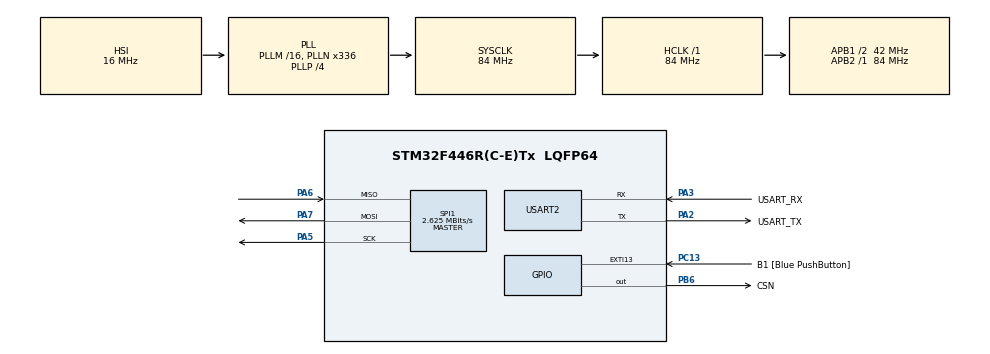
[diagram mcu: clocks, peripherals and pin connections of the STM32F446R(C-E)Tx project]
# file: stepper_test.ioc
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Mcu.Family=STM32F4
Mcu.Name=STM32F446R(C-E)Tx
Mcu.Package=LQFP64
NVIC.PriorityGroup=NVIC_PRIORITYGROUP_0
PA13.GPIO_Label=TMS
PA13.Mode=Serial_Wire
PA13.Signal=SYS_JTMS-SWDIO
PA14.GPIO_Label=TCK
PA14.Mode=Serial_Wire
PA14.Signal=SYS_JTCK-SWCLK
PA2.GPIO_Label=USART_TX
PA2.Mode=Asynchronous
PA2.Signal=USART2_TX
PA3.GPIO_Label=USART_RX
PA3.Mode=Asynchronous
PA3.Signal=USART2_RX
PA5.Mode=Full_Duplex_Master
PA5.Signal=SPI1_SCK
PA6.Mode=Full_Duplex_Master
PA6.Signal=SPI1_MISO
PA7.Mode=Full_Duplex_Master
PA7.Signal=SPI1_MOSI
PB3.GPIO_Label=SWO
PB3.Signal=SYS_JTDO-SWO
PB6.GPIO_Label=CSN
PB6.GPIO_Speed=GPIO_SPEED_FREQ_HIGH
PB6.PinState=GPIO_PIN_SET
PB6.Signal=GPIO_Output
PC13.GPIO_Label=B1 [Blue PushButton]
PC13.GPIO_ModeDefaultEXTI=GPIO_MODE_IT_FALLING
PC13.Signal=GPXTI13
PC14-OSC32_IN.Mode=LSE-External-Oscillator
PC14-OSC32_IN.Signal=RCC_OSC32_IN
PC15-OSC32_OUT.Mode=LSE-External-Oscillator
PC15-OSC32_OUT.Signal=RCC_OSC32_OUT
PH0-OSC_IN.Mode=HSE-External-Oscillator
PH0-OSC_IN.Signal=RCC_OSC_IN
PH1-OSC_OUT.Mode=HSE-External-Oscillator
PH1-OSC_OUT.Signal=RCC_OSC_OUT
ProjectManager.HeapSize=0x200
ProjectManager.StackSize=0x400
ProjectManager.TargetToolchain=STM32CubeIDE
RCC.48MHZClocksFreq_Value=84000000
RCC.AHBFreq_Value=84000000
RCC.APB1CLKDivider=RCC_HCLK_DIV2
RCC.APB1Freq_Value=42000000
RCC.APB1TimFreq_Value=84000000
RCC.APB2Freq_Value=84000000
RCC.APB2TimFreq_Value=84000000
RCC.CortexFreq_Value=84000000
RCC.FLatency-AdvancedSettings=FLASH_LATENCY_2
RCC.HCLKFreq_Value=84000000
RCC.HSE_VALUE=8000000
RCC.HSI_VALUE=16000000
RCC.PLLN=336
RCC.PLLP=RCC_PLLP_DIV4
RCC.SYSCLKFreq_VALUE=84000000
RCC.SYSCLKSource=RCC_SYSCLKSOURCE_PLLCLK
RCC.USBFreq_Value=168000000
RCC.VCOOutputFreq_Value=336000000
SPI1.BaudRatePrescaler=SPI_BAUDRATEPRESCALER_32
SPI1.CLKPhase=SPI_PHASE_2EDGE
SPI1.CLKPolarity=SPI_POLARITY_HIGH
SPI1.CalculateBaudRate=2.625 MBits/s
SPI1.Direction=SPI_DIRECTION_2LINES
SPI1.Mode=SPI_MODE_MASTER
SPI1.VirtualType=VM_MASTER
USART2.VirtualMode=VM_ASYNC
board=NUCLEO-F446RE

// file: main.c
/* USER CODE BEGIN Header */
/**
  ******************************************************************************
  * @file           : main.c
  * @brief          : Main program body
  ******************************************************************************
  * @attention
  *
  * Copyright (c) 2026 STMicroelectronics.
  * All rights reserved.
  *
  * This software is licensed under terms that can be found in the LICENSE file
  * in the root directory of this software component.
  * If no LICENSE file comes with this software, it is provided AS-IS.
  *
  ******************************************************************************
  */
/* USER CODE END Header */
#include "main.h"

/* USER CODE BEGIN Includes */
#include <stdio.h>
#include <stdarg.h>
#include "tmc5160.h"

/* USER CODE END Includes */

SPI_HandleTypeDef hspi1;

UART_HandleTypeDef huart2;

void SystemClock_Config(void);
static void MX_GPIO_Init(void);
static void MX_SPI1_Init(void);
static void MX_USART2_UART_Init(void);

/* USER CODE BEGIN 0 */
void Log(const char *format, ...) {
    char buffer[128];
    va_list args;
    va_start(args, format);
    int len = vsnprintf(buffer, sizeof(buffer), format, args);
    va_end(args);
    HAL_UART_Transmit(&huart2, (uint8_t*)buffer, len, HAL_MAX_DELAY);
}
/* USER CODE END 0 */

int main(void)
{

  /* MCU Configuration--------------------------------------------------------*/

  /* Reset of all peripherals, Initializes the Flash interface and the Systick. */
  HAL_Init();

  /* Configure the system clock */
  SystemClock_Config();

  /* Initialize all configured peripherals */
  MX_GPIO_Init();
  MX_SPI1_Init();
  MX_USART2_UART_Init();
  /* USER CODE BEGIN 2 */
  HAL_Delay(100);
  Log("\r\nboot\r\n");
  tmc5160_init();
  Log("init done\r\n");
  /* USER CODE END 2 */

  /* Infinite loop */
  while (1)
  {

    /* USER CODE BEGIN 3 */
    tmc5160_move_to(25600);
    HAL_Delay(3000);
    tmc5160_move_to(0);
  }
  /* USER CODE END 3 */
}

void SystemClock_Config(void)
{
  RCC_OscInitTypeDef RCC_OscInitStruct = {0};
  RCC_ClkInitTypeDef RCC_ClkInitStruct = {0};

  /** Configure the main internal regulator output voltage
  */
  __HAL_RCC_PWR_CLK_ENABLE();
  __HAL_PWR_VOLTAGESCALING_CONFIG(PWR_REGULATOR_VOLTAGE_SCALE3);

  /** Initializes the RCC Oscillators according to the specified parameters
  * in the RCC_OscInitTypeDef structure.
  */
  RCC_OscInitStruct.OscillatorType = RCC_OSCILLATORTYPE_HSI;
  RCC_OscInitStruct.HSIState = RCC_HSI_ON;
  RCC_OscInitStruct.HSICalibrationValue = RCC_HSICALIBRATION_DEFAULT;
  RCC_OscInitStruct.PLL.PLLState = RCC_PLL_ON;
  RCC_OscInitStruct.PLL.PLLSource = RCC_PLLSOURCE_HSI;
  RCC_OscInitStruct.PLL.PLLM = 16;
  RCC_OscInitStruct.PLL.PLLN = 336;
  RCC_OscInitStruct.PLL.PLLP = RCC_PLLP_DIV4;
  RCC_OscInitStruct.PLL.PLLQ = 2;
  RCC_OscInitStruct.PLL.PLLR = 2;
  if (HAL_RCC_OscConfig(&RCC_OscInitStruct) != HAL_OK)
  {
    Error_Handler();
  }

  /** Initializes the CPU, AHB and APB buses clocks
  */
  RCC_ClkInitStruct.ClockType = RCC_CLOCKTYPE_HCLK|RCC_CLOCKTYPE_SYSCLK
                              |RCC_CLOCKTYPE_PCLK1|RCC_CLOCKTYPE_PCLK2;
  RCC_ClkInitStruct.SYSCLKSource = RCC_SYSCLKSOURCE_PLLCLK;
  RCC_ClkInitStruct.AHBCLKDivider = RCC_SYSCLK_DIV1;
  RCC_ClkInitStruct.APB1CLKDivider = RCC_HCLK_DIV2;
  RCC_ClkInitStruct.APB2CLKDivider = RCC_HCLK_DIV1;

  if (HAL_RCC_ClockConfig(&RCC_ClkInitStruct, FLASH_LATENCY_2) != HAL_OK)
  {
    Error_Handler();
  }
}

static void MX_SPI1_Init(void)
{

  /* SPI1 parameter configuration*/
  hspi1.Instance = SPI1;
  hspi1.Init.Mode = SPI_MODE_MASTER;
  hspi1.Init.Direction = SPI_DIRECTION_2LINES;
  hspi1.Init.DataSize = SPI_DATASIZE_8BIT;
  hspi1.Init.CLKPolarity = SPI_POLARITY_HIGH;
  hspi1.Init.CLKPhase = SPI_PHASE_2EDGE;
  hspi1.Init.NSS = SPI_NSS_SOFT;
  hspi1.Init.BaudRatePrescaler = SPI_BAUDRATEPRESCALER_32;
  hspi1.Init.FirstBit = SPI_FIRSTBIT_MSB;
  hspi1.Init.TIMode = SPI_TIMODE_DISABLE;
  hspi1.Init.CRCCalculation = SPI_CRCCALCULATION_DISABLE;
  hspi1.Init.CRCPolynomial = 10;
  if (HAL_SPI_Init(&hspi1) != HAL_OK)
  {
    Error_Handler();
  }

}

static void MX_USART2_UART_Init(void)
{

  huart2.Instance = USART2;
  huart2.Init.BaudRate = 115200;
  huart2.Init.WordLength = UART_WORDLENGTH_8B;
  huart2.Init.StopBits = UART_STOPBITS_1;
  huart2.Init.Parity = UART_PARITY_NONE;
  huart2.Init.Mode = UART_MODE_TX_RX;
  huart2.Init.HwFlowCtl = UART_HWCONTROL_NONE;
  huart2.Init.OverSampling = UART_OVERSAMPLING_16;
  if (HAL_UART_Init(&huart2) != HAL_OK)
  {
    Error_Handler();
  }

}

static void MX_GPIO_Init(void)
{
  GPIO_InitTypeDef GPIO_InitStruct = {0};

  /* GPIO Ports Clock Enable */
  __HAL_RCC_GPIOC_CLK_ENABLE();
  __HAL_RCC_GPIOH_CLK_ENABLE();
  __HAL_RCC_GPIOA_CLK_ENABLE();
  __HAL_RCC_GPIOB_CLK_ENABLE();

  /*Configure GPIO pin Output Level */
  HAL_GPIO_WritePin(CSN_GPIO_Port, CSN_Pin, GPIO_PIN_SET);

  /*Configure GPIO pin : B1_Pin */
  GPIO_InitStruct.Pin = B1_Pin;
  GPIO_InitStruct.Mode = GPIO_MODE_IT_FALLING;
  GPIO_InitStruct.Pull = GPIO_NOPULL;
  HAL_GPIO_Init(B1_GPIO_Port, &GPIO_InitStruct);

  /*Configure GPIO pin : CSN_Pin */
  GPIO_InitStruct.Pin = CSN_Pin;
  GPIO_InitStruct.Mode = GPIO_MODE_OUTPUT_PP;
  GPIO_InitStruct.Pull = GPIO_NOPULL;
  GPIO_InitStruct.Speed = GPIO_SPEED_FREQ_HIGH;
  HAL_GPIO_Init(CSN_GPIO_Port, &GPIO_InitStruct);

}

void Error_Handler(void)
{
  __disable_irq();
  while (1)
  {
  }
}
